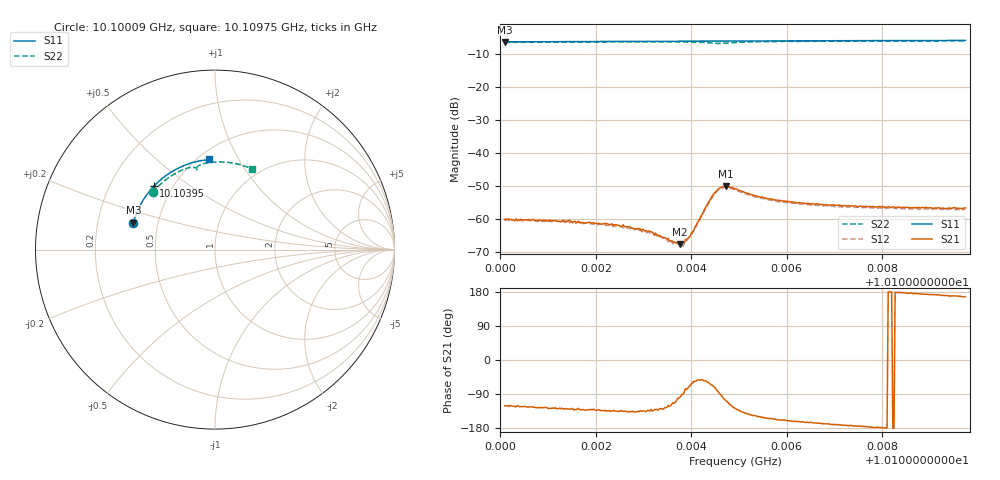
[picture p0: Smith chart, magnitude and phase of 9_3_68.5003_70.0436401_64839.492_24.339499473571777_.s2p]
#  HZ  S  RI  R  50.00
! Rohde & Schwarz Vector Network Analyzer
! Rohde-Schwarz,ZNB20-2Port,1311601062101988,3.16
! Created: UTC 3/20/2024, 5:04:06 PM
! freq[Hz]  re:S11  im:S11  re:S21  im:S21  re:S12  im:S12  re:S22  im:S22
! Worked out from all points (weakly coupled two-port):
!   401 points, 10.10009 GHz to 10.10975 GHz, reference 50 ohm
!   highest |S21| = -50.05 dB at 10.10472 GHz (marker M1); lowest = -67.4 dB at 10.10376 GHz (marker M2)
!   lowest |S11| = -6.4 dB at 10.10009 GHz (marker M3), VSWR 2.84, Z = 18 + j7.05 ohm
!   |S11| at or under -10 dB: nowhere
!   |S22| runs from -6.9 to -6.1 dB; largest |S21 - S12| = 0.00033
!   S11 on the Smith chart (normalised r, x): 10.10009 GHz: 0.36, +0.14; 10.10395 GHz: 0.39, +0.37; 10.10975 GHz: 0.57, +0.76
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1.0100089e10  -0.4544 0.1507  -0.00051 -0.000855  -0.000443 -0.000873  -0.3464 0.3196
1.0101417e10  -0.4267 0.2267  -0.000591 -0.000713  -0.000526 -0.000718  -0.2857 0.3802
1.0101707e10  -0.4189 0.2425  -0.000591 -0.000659  -0.00053 -0.000722  -0.2709 0.3916
1.0102624e10  -0.3907 0.2906  -0.000547 -0.000551  -0.000503 -0.000548  -0.2208 0.4249
1.010289e10  -0.3814 0.3039  -0.000497 -0.0005  -0.000457 -0.000536  -0.2052 0.4332
1.0103155e10  -0.3718 0.3169  -0.000423 -0.000496  -0.000394 -0.000486  -0.1891 0.4409
1.0103324e10  -0.3654 0.3249  -0.000354 -0.000426  -0.000339 -0.000465  -0.1784 0.4455
1.0103565e10  -0.3561 0.3361  -0.000241 -0.000405  -0.000173 -0.000403  -0.1626 0.4513
1.0103759e10  -0.3483 0.3449  -6.44e-05 -0.000422  -3.43e-05 -0.000424  -0.1492 0.4553
1.0103855e10  -0.3443 0.3491  4.43e-05 -0.000443  6.87e-05 -0.000428  -0.1423 0.457
1.0103952e10  -0.3405 0.3535  0.000182 -0.000506  0.000207 -0.000483  -0.1349 0.4581
1.0104024e10  -0.3373 0.3568  0.000306 -0.000573  0.000348 -0.00051  -0.1294 0.4586
1.0104314e10  -0.3248 0.3691  0.000883 -0.00131  0.000926 -0.00118  -0.1069 0.4545
1.0104459e10  -0.3185 0.3749  0.000837 -0.00219  0.000988 -0.00201  -0.1002 0.4472
1.0104579e10  -0.3131 0.3799  0.000216 -0.0029  0.000454 -0.00277  -0.1014 0.4423
1.0104724e10  -0.3066 0.3857  -0.000925 -0.003  -0.000616 -0.00295  -0.1056 0.4457
1.0104917e10  -0.2979 0.3933  -0.00178 -0.00232  -0.00151 -0.00237  -0.1016 0.458
1.0105279e10  -0.2806 0.4069  -0.00195 -0.00129  -0.00176 -0.00142  -0.0786 0.4735
1.0105593e10  -0.2653 0.418  -0.00183 -0.000899  -0.00172 -0.00105  -0.0569 0.4802
1.0106535e10  -0.2165 0.4477  -0.00167 -0.000446  -0.00155 -0.000547  0.00581 0.4883
1.0108152e10  -0.126 0.4844  -0.00155 1.2e-05  -0.00148 -0.000129  0.1099 0.48
1.0109745e10  -0.0315 0.502  -0.00146 0.000329  -0.00141 0.000168  0.2069 0.4502
